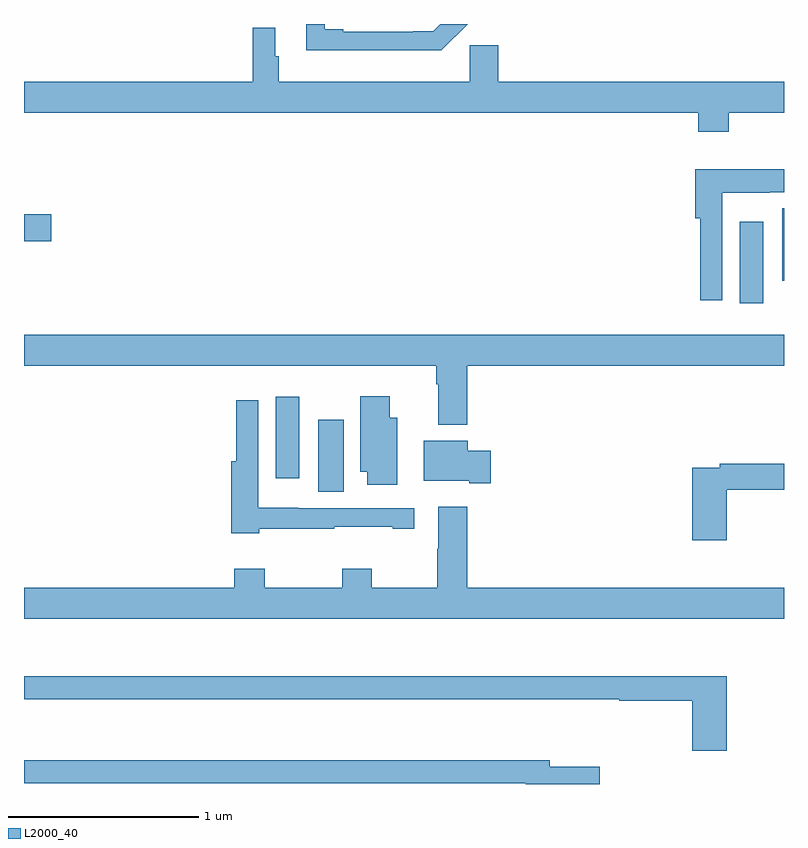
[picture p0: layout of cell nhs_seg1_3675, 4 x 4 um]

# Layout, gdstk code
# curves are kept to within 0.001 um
import gdstk
lib = gdstk.Library(unit=1e-6, precision=1e-09)
def R(c, l, rs):  # rectangles x0, y0, x1, y1
    for r in rs: c.add(gdstk.rectangle(r[:2], r[2:], *l))
def P(c, l, *ps):  # polygons
    for p in ps: c.add(gdstk.Polygon(p, *l))
L2000_40 = (2000, 40)

nhs_seg1_3675 = lib.new_cell('nhs_seg1_3675')
R(nhs_seg1_3675, L2000_40, [(312.548,549.736,312.682,550.117), (312.326,549.807,312.448,550.237), (314.768,550.728,314.89,551.158), (314.99,550.848,315,551.228), (311,551.056,311.143,551.198)])
P(nhs_seg1_3675, L2000_40, [(313.336,552.199),(313.192,552.199),(313.153,552.16),(313.049,552.159),(312.679,552.159),(312.679,552.172),(312.583,552.172),(312.583,552.199),(312.485,552.199),(312.485,552.062),(312.997,552.062),(312.997,552.06),(313.196,552.06)],
  [(314.709,551.732),(315,551.732),(315,551.896),(313.496,551.896),(313.496,552.087),(313.345,552.087),(313.345,551.896),(312.341,551.896),(312.341,552.029),(312.322,552.029),(312.322,552.178),(312.205,552.178),(312.205,551.896),(311,551.896),(311,551.732),(314.549,551.732),(314.549,551.633),(314.709,551.633)],
  [(314.676,551.312),(314.925,551.312),(314.925,551.313),(315,551.313),(315,551.434),(314.534,551.434),(314.534,551.177),(314.56,551.177),(314.56,550.746),(314.676,550.746)],
  [(313.334,550.4),(315,550.4),(315,550.564),(311,550.564),(311,550.4),(313.169,550.4),(313.169,550.304),(313.181,550.304),(313.181,550.091),(313.334,550.091)],
  [(312.964,550.126),(312.925,550.126),(312.925,550.24),(312.77,550.24),(312.77,549.842),(312.806,549.842),(312.806,549.774),(312.964,549.774)],
  [(312.239,549.543),(312.632,549.543),(312.632,549.553),(312.941,549.553),(312.941,549.543),(313.054,549.543),(313.054,549.651),(312.444,549.651),(312.444,549.652),(312.234,549.652),(312.234,550.219),(312.118,550.219),(312.118,549.898),(312.092,549.898),(312.092,549.518),(312.239,549.518)],
  [(313.456,549.952),(313.336,549.952),(313.336,550.006),(313.103,550.006),(313.103,549.794),(313.343,549.794),(313.343,549.782),(313.456,549.782)],
  [(314.699,549.748),(315,549.748),(315,549.884),(314.662,549.884),(314.662,549.864),(314.516,549.864),(314.516,549.483),(314.699,549.483)],
  [(315,549.232),(313.334,549.232),(313.334,549.658),(313.181,549.658),(313.181,549.437),(313.174,549.437),(313.174,549.232),(312.831,549.232),(312.831,549.331),(312.676,549.331),(312.676,549.232),(312.267,549.232),(312.267,549.331),(312.107,549.331),(312.107,549.232),(311,549.232),(311,549.068),(315,549.068)],
  [(314.699,548.767),(311,548.767),(311,548.646),(314.132,548.646),(314.132,548.638),(314.516,548.638),(314.516,548.373),(314.699,548.373)],
  [(314.029,548.289),(313.768,548.289),(313.768,548.323),(311,548.323),(311,548.202),(313.64,548.202),(313.64,548.199),(314.029,548.199)])

lib.write_gds('nhs_seg1_3675.gds')
